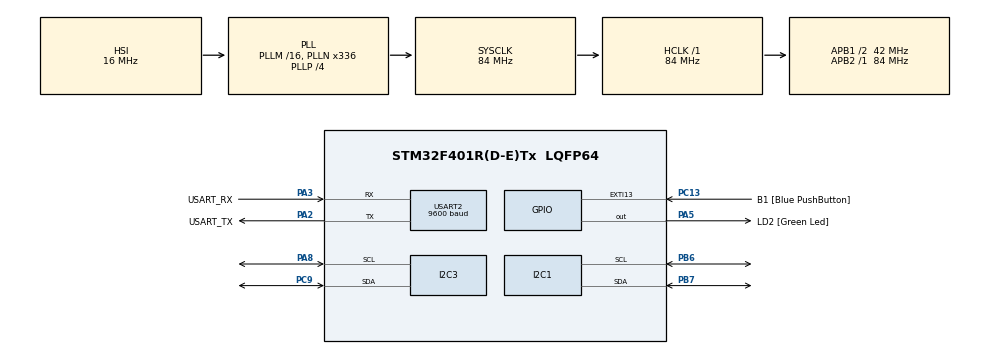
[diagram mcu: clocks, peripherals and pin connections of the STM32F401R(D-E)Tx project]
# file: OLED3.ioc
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ADC1.Channel-0\#ChannelRegularConversion=ADC_CHANNEL_TEMPSENSOR
ADC1.ClockPrescaler=ADC_CLOCK_SYNC_PCLK_DIV8
ADC1.ContinuousConvMode=ENABLE
ADC1.DMAContinuousRequests=ENABLE
ADC1.DataAlign=ADC_DATAALIGN_RIGHT
ADC1.DiscontinuousConvMode=DISABLE
ADC1.EOCSelection=ADC_EOC_SINGLE_CONV
ADC1.EnableAnalogWatchDog=false
ADC1.ExternalTrigConv=ADC_SOFTWARE_START
ADC1.ExternalTrigConvEdge=ADC_EXTERNALTRIGCONVEDGE_NONE
ADC1.InjNumberOfConversion=0
ADC1.NbrOfConversion=1
ADC1.NbrOfConversionFlag=1
ADC1.Rank-0\#ChannelRegularConversion=1
ADC1.Resolution=ADC_RESOLUTION_12B
ADC1.SamplingTime-0\#ChannelRegularConversion=ADC_SAMPLETIME_480CYCLES
ADC1.ScanConvMode=ENABLE
ADC1.master=1
Mcu.Family=STM32F4
Mcu.Name=STM32F401R(D-E)Tx
Mcu.Package=LQFP64
NVIC.ADC_IRQn=true\:0\:0\:false\:false\:true\:true
NVIC.PriorityGroup=NVIC_PRIORITYGROUP_0
NVIC.USART2_IRQn=true\:0\:0\:false\:false\:true\:true
PA13.GPIO_Label=TMS
PA13.Signal=SYS_JTMS-SWDIO
PA14.GPIO_Label=TCK
PA14.Signal=SYS_JTCK-SWCLK
PA2.GPIO_Label=USART_TX
PA2.GPIO_Mode=GPIO_MODE_AF_PP
PA2.GPIO_PuPd=GPIO_NOPULL
PA2.GPIO_Speed=GPIO_SPEED_FREQ_LOW
PA2.Mode=Asynchronous
PA2.Signal=USART2_TX
PA3.GPIO_Label=USART_RX
PA3.GPIO_Mode=GPIO_MODE_AF_PP
PA3.GPIO_PuPd=GPIO_NOPULL
PA3.GPIO_Speed=GPIO_SPEED_FREQ_LOW
PA3.Mode=Asynchronous
PA3.Signal=USART2_RX
PA5.GPIO_Label=LD2 [Green Led]
PA5.GPIO_Mode=GPIO_MODE_OUTPUT_PP
PA5.GPIO_PuPd=GPIO_NOPULL
PA5.GPIO_Speed=GPIO_SPEED_FREQ_LOW
PA5.Signal=GPIO_Output
PA8.Mode=I2C
PA8.Signal=I2C3_SCL
PB3.GPIO_Label=SWO
PB3.Signal=SYS_JTDO-SWO
PB6.Mode=I2C
PB6.Signal=I2C1_SCL
PB7.Mode=I2C
PB7.Signal=I2C1_SDA
PC13-ANTI_TAMP.GPIO_Label=B1 [Blue PushButton]
PC13-ANTI_TAMP.GPIO_ModeDefaultEXTI=GPIO_MODE_IT_FALLING
PC13-ANTI_TAMP.GPIO_PuPd=GPIO_NOPULL
PC13-ANTI_TAMP.Signal=GPXTI13
PC14-OSC32_IN.Signal=RCC_OSC32_IN
PC15-OSC32_OUT.Signal=RCC_OSC32_OUT
PC9.Mode=I2C
PC9.Signal=I2C3_SDA
PH0\ -\ OSC_IN.Mode=HSE-External-Oscillator
PH0\ -\ OSC_IN.Signal=RCC_OSC_IN
PH1\ -\ OSC_OUT.Mode=HSE-External-Oscillator
PH1\ -\ OSC_OUT.Signal=RCC_OSC_OUT
ProjectManager.HeapSize=0x200
ProjectManager.StackSize=0x400
ProjectManager.TargetToolchain=SW4STM32
RCC.AHBFreq_Value=84000000
RCC.APB1CLKDivider=RCC_HCLK_DIV2
RCC.APB1Freq_Value=42000000
RCC.APB1TimFreq_Value=84000000
RCC.APB2Freq_Value=84000000
RCC.APB2TimFreq_Value=84000000
RCC.CortexFreq_Value=84000000
RCC.HCLKFreq_Value=84000000
RCC.HSE_VALUE=8000000
RCC.HSI_VALUE=16000000
RCC.LSE_VALUE=32768
RCC.PLLN=336
RCC.PLLP=RCC_PLLP_DIV4
RCC.PLLQ=7
RCC.SYSCLKFreq_VALUE=84000000
RCC.SYSCLKSource=RCC_SYSCLKSOURCE_PLLCLK
RCC.VCOOutputFreq_Value=336000000
USART2.BaudRate=9600
USART2.VirtualMode=VM_ASYNC
VP_ADC1_TempSens_Input.Mode=IN-TempSens
board=NUCLEO-F401RE

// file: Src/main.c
/**
 ******************************************************************************
 * File Name          : main.c
 * Description        : Main program body
 ******************************************************************************
 ** This notice applies to any and all portions of this file
 * that are not between comment pairs USER CODE BEGIN and
 * USER CODE END. Other portions of this file, whether
 * inserted by the user or by software development tools
 * are owned by their respective copyright owners.
 *
 * COPYRIGHT(c) 2018 STMicroelectronics
 *
 * Redistribution and use in source and binary forms, with or without modification,
 * are permitted provided that the following conditions are met:
 *   1. Redistributions of source code must retain the above copyright notice,
 *      this list of conditions and the following disclaimer.
 *   2. Redistributions in binary form must reproduce the above copyright notice,
 *      this list of conditions and the following disclaimer in the documentation
 *      and/or other materials provided with the distribution.
 *   3. Neither the name of STMicroelectronics nor the names of its contributors
 *      may be used to endorse or promote products derived from this software
 *      without specific prior written permission.
 *
 * THIS SOFTWARE IS PROVIDED BY THE COPYRIGHT HOLDERS AND CONTRIBUTORS "AS IS"
 * AND ANY EXPRESS OR IMPLIED WARRANTIES, INCLUDING, BUT NOT LIMITED TO, THE
 * IMPLIED WARRANTIES OF MERCHANTABILITY AND FITNESS FOR A PARTICULAR PURPOSE ARE
 * DISCLAIMED. IN NO EVENT SHALL THE COPYRIGHT HOLDER OR CONTRIBUTORS BE LIABLE
 * FOR ANY DIRECT, INDIRECT, INCIDENTAL, SPECIAL, EXEMPLARY, OR CONSEQUENTIAL
 * DAMAGES (INCLUDING, BUT NOT LIMITED TO, PROCUREMENT OF SUBSTITUTE GOODS OR
 * SERVICES; LOSS OF USE, DATA, OR PROFITS; OR BUSINESS INTERRUPTION) HOWEVER
 * CAUSED AND ON ANY THEORY OF LIABILITY, WHETHER IN CONTRACT, STRICT LIABILITY,
 * OR TORT (INCLUDING NEGLIGENCE OR OTHERWISE) ARISING IN ANY WAY OUT OF THE USE
 * OF THIS SOFTWARE, EVEN IF ADVISED OF THE POSSIBILITY OF SUCH DAMAGE.
 *
 ******************************************************************************
 */

#include "main.h"
#include "stm32f4xx_hal.h"

/* USER CODE BEGIN Includes */
#include "tm_stm32_delay.h"
#include "defines.h"
#include "SSD1306_procedury.h"
#include "Obrazki_128_64.h"
#include "function.h"

#include "bmp180.h"
#include <math.h>
#include <string.h>

#define buf_size 255 //rozmiar bufora kolwego
#define start 0x3A //adres poczatku ramki
#define dest_addr 0x55 //adres docelowy
#define sour_addr 0x7F //adres zrodlowy
#define end1 0x0D //znak konca ramki
#define end2 0x0A //znak konca ramki

#define wyswietl_temp 0x22 //komenda wysietlania temperatury
#define wyswietl_pressure 0x23 //komenda wysietlania temperatury

const int led_on_off = 0x11; // komenda led on/led off
const int miganie = 0x10; //miganie dioda

int flaga; //flaga wykorzystywana do wysietlania temperatury co okreslony czas (SysTick)
/* USER CODE END Includes */

ADC_HandleTypeDef hadc1;

I2C_HandleTypeDef hi2c1;
I2C_HandleTypeDef hi2c3;

UART_HandleTypeDef huart2;

/* USER CODE BEGIN PV */
/* Private variables ---------------------------------------------------------*/

uint16_t PomiarADC; //zmienna przechowuje pomiar
float Temperature;
float Vsense;

const float V25 = 0.76; // [Volts]
const float Avg_slope = 0.0025; //[Volts/degree]
const float SupplyVoltage = 3.3; // [Volts]
const float ADCResolution = 4095.0;

int wartoscADC1 = 0;
int wartoscADC2 = 0;
char TempCelsiusDisplay[] = "    .   C "; //inicjalizacja bufora wyietlania
char PressureDisplay[] = "     hPa "; //przykladowa wartosc

uint8_t Received;     //zmienna przechowujaca dane odebrane z usarta
uint8_t przerwanie = 0;  // flaga informujaca o uruchomieniu przerwania usarta
uint8_t buf_rx[buf_size]; //bufor ko這wy
uint8_t buf_end = 0; //indeks ko鎍a zapisu
uint8_t buf_start = 0; //indeks poczatku zapisu
uint8_t CMD_buf_rx[buf_size]; //bufor pomocniczy
uint8_t CMD_BUF_INDEX = 0; // indeks bufora
uint16_t zapalona; //jak dlugo dioda zapalona
uint16_t zgaszona; //jak dlugo dioda zgaszona

uint8_t buf_tx[buf_size]; //bufor kolowy
uint8_t buf_xx[buf_size];
uint8_t buf_tx_end = 0; //indeks konca zapisu
uint8_t buf_tx_start = 0; //indeks poczatku zapisu
uint8_t tx_transmit = 0;

uint8_t data[buf_size];
uint8_t flag = 0;

float volatile bmp180Pressure;
float volatile bmp180Temperature;
/* USER CODE END PV */

void SystemClock_Config(void);
static void MX_GPIO_Init(void);
static void MX_I2C3_Init(void);
static void MX_ADC1_Init(void);
static void MX_USART2_UART_Init(void);
static void MX_I2C1_Init(void);

/* USER CODE BEGIN PFP */
/* Private function prototypes -----------------------------------------------*/
void HAL_ADC_ConvCpltCallback(ADC_HandleTypeDef* hadc) {
	PomiarADC = HAL_ADC_GetValue(&hadc1); // Pobranie zmierzonej wartosci
	Vsense = (SupplyVoltage * PomiarADC) / ADCResolution; // Przeliczenie wartosci zmierzonej na napiecie
	Temperature = ((Vsense - V25) / Avg_slope) + 25; // Obliczenie temperatury
	wartoscADC1 = (int) Temperature; //temperatura, wartosc przed przecinkiem
	wartoscADC2 = ((int) (Temperature * 100)) % 100; //temperatura, wartosc po przecinku
}

//metoda wywolywana po odborze
void HAL_UART_RxCpltCallback(UART_HandleTypeDef *huart) {
	if (huart->Instance == USART2) {
		buf_end++;
		if (buf_end >= buf_size) {
			buf_end = 0;
		}
		HAL_UART_Receive_IT(&huart2, &buf_rx[buf_end], 1);
	}
}

void HAL_UART_TxCpltCallback(UART_HandleTypeDef *huart) {
	if (huart->Instance == USART2) {
		//przerwanie wywolywane po wyslaniu znaku
		if (buf_tx_end != buf_tx_start) {
			int ile1 = 0;
			while (buf_tx_end != buf_tx_start) { /*dopoki w buforze jest cos do wyslania,
				czego jeszcze nie wyswietlimy, bedziemy to dodawac do tablicy, a pozniej zostana wyslane*/
				buf_xx[ile1++] = buf_tx[buf_tx_end++]; //zapisanie do bufora pomocniczego
				if (buf_tx_end >= buf_size) {
					buf_tx_end = 0;
				}
			}
			HAL_UART_Transmit_IT(&huart2, buf_xx, ile1);
		} else {
			tx_transmit = 0; //jesli nie ma juz nic do wyslania
		}
	}
}
void sprawdz(void) { //funkcja, ktora sprawdza czy zostala przeslana odpowiednia ramka
	if (flag == 5) { //czy odebrano znak konca ramki
		uint16_t dlugosc = CMD_buf_rx[3]; //wyliczenie dlugosci ramki
		uint16_t crc = crc1(&CMD_buf_rx[1], dlugosc + 2); //suma kontrolna
		if (crc >= 0) {
			if (CMD_BUF_INDEX == dlugosc + 10) { //czy w buforze znajduje sie ramka o odpowiedniej dlugosci
				dioda(); //sprawdzenie czy komenda dioda
				if (CMD_buf_rx[4] == wyswietl_temp) { //czy komenda wyswietlenia temperatury
					send(&TempCelsiusDisplay, 10);
				}
				if (CMD_buf_rx[4] == wyswietl_pressure) { //czy komenda wyswietlenia cisnienia
					send(&PressureDisplay, 9);
				}
				flag = 0;
				CMD_BUF_INDEX = 0;
			}
		}
	}
}
void copy2(void) {
	buf_start++;
	if (buf_start >= buf_size) {
		buf_start = 0;
	}
}
void copy(void) {
	if (buf_start != buf_end) {
		if (flag == 1) {
			if (buf_rx[buf_start] == dest_addr) { //czy adres docelowy urzadzenia
				CMD_buf_rx[CMD_BUF_INDEX++] = buf_rx[buf_start];
				flag = 2;
			} else {
				CMD_BUF_INDEX = 0;
				flag = 0;
			}
		} else if (flag == 2) {
			if (buf_rx[buf_start] == sour_addr) { //czy adres zrodlowy
				CMD_buf_rx[CMD_BUF_INDEX++] = buf_rx[buf_start];
				flag = 3;
			} else {
				CMD_BUF_INDEX = 0;
				flag = 0;
			}
		} else if (flag == 3) {
			if (buf_rx[buf_start] == end1) { //czy znak ko鎍a ramki (pierwszy z dwoch)
				CMD_buf_rx[CMD_BUF_INDEX++] = buf_rx[buf_start];
				flag = 4;
			}
			if (buf_rx[buf_start] != start) {
				CMD_buf_rx[CMD_BUF_INDEX++] = buf_rx[buf_start];
			} else {
				CMD_BUF_INDEX = 0;
				flag = 0;
			}
		} else if (flag == 4) {
			if (buf_rx[buf_start] == end2) { //czy znak konca ramki
				CMD_buf_rx[CMD_BUF_INDEX++] = buf_rx[buf_start];
				flag = 5;
				sprawdz(); //sprawdzam czy cala ramka zostala przeslana i czy jest ona poprawna
			} else {
				flag = 0;
				CMD_BUF_INDEX = 0;
			}
		}
		if (buf_rx[buf_start] == start) { //czy poczaek ramki
			if (flag == 0) {
				CMD_buf_rx[CMD_BUF_INDEX++] = buf_rx[buf_start]; //zapisanie do bufora pomocniczego
				flag = 1; //ustawiam flage na 1, co oznacza, ze teraz powinien przyjsc destination address
			}
		}
		copy2();
	}
}
void dioda(void) {
	if (CMD_buf_rx[4] == led_on_off) { //czy komenda wlaczenia/wylaczenia diody
		if (CMD_buf_rx[5] == 0x01) { //warunek na zapalenie diody
			HAL_GPIO_WritePin(GPIOA, GPIO_PIN_5, GPIO_PIN_SET);
		} else {
			HAL_GPIO_WritePin(GPIOA, GPIO_PIN_5, GPIO_PIN_RESET);
		}
	}
	if (CMD_buf_rx[4] == miganie) { //warunek na miganie diody
		zapalona = ((uint16_t) CMD_buf_rx[6] << 8) | CMD_buf_rx[7]; //ile czasu wlaczona
		zgaszona = ((uint16_t) CMD_buf_rx[8] << 8) | CMD_buf_rx[9]; //ile czasu wylaczona
		for (int i = 0; i < CMD_buf_rx[5]; i++) {
			HAL_GPIO_WritePin(GPIOA, GPIO_PIN_5, GPIO_PIN_SET);
			HAL_Delay(zapalona);
			HAL_GPIO_WritePin(GPIOA, GPIO_PIN_5, GPIO_PIN_RESET);
			HAL_Delay(zgaszona);
		}
	}
}
void send(char *dane, uint16_t rozmiar) {
	//dodawanie danych do bufora
	for (int x = 0; x < rozmiar; x++) {
		buf_tx[buf_tx_start++] = dane[x];
		if (buf_tx_start >= buf_size) {
			buf_tx_start = 0;
		}
	}
	int ile;
	__disable_irq(); // zablokowanie przerwania
	if (tx_transmit == 0){
		tx_transmit = 1;
		ile = 0;
		while (buf_tx_start != buf_tx_end) {
			buf_xx[ile++] = buf_tx[buf_tx_end++]; //zapis do bufora pomocniczego
			if (buf_tx_end >= buf_size) {
				buf_tx_end = 0;
			}
		}
		HAL_UART_Transmit_IT(&huart2, buf_xx, ile);
	}
	__enable_irq(); //odblokowanie przerwania
}
void wyswietlTemp(void) {
	if (wartoscADC1 < 0) { //jesli temperatura ujemna
		TempCelsiusDisplay[0] = '-';
	} else if (wartoscADC1 > 0) { //jesli temperatura dodatnia
		TempCelsiusDisplay[0] = '+';
	} //konwersja ascii
	  //cyfry po przecinku
	TempCelsiusDisplay[5] = wartoscADC2 / 10 + 48;
	TempCelsiusDisplay[6] = wartoscADC2 % 10 + 48;
	if (wartoscADC1 < 10 && wartoscADC1 > -10) { //gdy liczba jednocyfrowa
		TempCelsiusDisplay[3] = wartoscADC1 + 48;
	} else if (wartoscADC1 < 100 && wartoscADC1 > -100) { //gdy dwucyfrowa
		TempCelsiusDisplay[2] = wartoscADC1 / 10 + 48;
		TempCelsiusDisplay[3] = wartoscADC1 % 10 + 48;
	} else { //trzycyfrowa
		TempCelsiusDisplay[1] = wartoscADC1 / 100 + 48;
		TempCelsiusDisplay[2] = (wartoscADC1 / 10) % 10 + 48;
		TempCelsiusDisplay[3] = wartoscADC1 % 10 + 48;
	}

}
void wyswietlPressure(void) {
	PressureDisplay[0] = ((int) bmp180Pressure / 1000) + 48;
	PressureDisplay[1] = ((int) bmp180Pressure / 100) % 10 + 48;
	PressureDisplay[2] = ((int) bmp180Pressure % 100) % 10 + 48;
	PressureDisplay[3] = ((int) bmp180Pressure) % 10 + 48;
}
/* USER CODE END PFP */

int main(void) {

	/* USER CODE BEGIN 1 */
	char status = FALSE;
	//numer_ekranu = 0;
	/* USER CODE END 1 */

	/* MCU Configuration----------------------------------------------------------*/

	/* Reset of all peripherals, Initializes the Flash interface and the Systick. */
	HAL_Init();

	/* Configure the system clock */
	SystemClock_Config();

	/* Initialize all configured peripherals */
	MX_GPIO_Init();
	MX_I2C3_Init();
	MX_ADC1_Init();
	MX_USART2_UART_Init();
	MX_I2C1_Init();

	/* USER CODE BEGIN 2 */
	TM_DELAY_Init();
	HAL_ADC_Start_IT(&hadc1);
	//uruchomienie przerwania
	HAL_UART_Receive_IT(&huart2, &buf_rx[buf_end], 1);

	/* USER CODE END 2 */

	/* Infinite loop */
	/* USER CODE BEGIN WHILE */
	HAL_StatusTypeDef status1;

	//czujnik cisnienia i temperatury
	bmp180Device bmp180Device = { 0 };
	bmp180Device.handle = &hi2c1;
	bmp180Device.oversampling = 3;
	status1 = bmp180ReadCoefficients(&bmp180Device);

	status = SSD1306_Inicjacja(); //inicjacja wyswietlacza SSD1306
	if (status == TRUE) {
		wyswietlTemp();
		temp(TempCelsiusDisplay, PressureDisplay);
	}
	while (1) {

		/* USER CODE END WHILE */

		/* USER CODE BEGIN 3 */
		copy();
		if (flaga == 1) {
			bmp180Pressure = 0;
			bmp180Temperature = 0;

			status1 = bmp180ReadMeasurements(&bmp180Device);

			bmp180Pressure = bmp180Device.pressure; //pobranie cisnienia
			bmp180Temperature = bmp180Device.temperature; //pobranie temperatury

			bmp180Pressure = round(bmp180Pressure * 1000.0); //zaokraglenie do najblizszej liczby calkowitej
			bmp180Temperature = round(bmp180Temperature * 1000.0);

			wyswietlTemp();
			wyswietlPressure();
			temp1(TempCelsiusDisplay, PressureDisplay);
			flaga = 0;
		}
	}
	/* USER CODE END 3 */

}

/** System Clock Configuration
 */
void SystemClock_Config(void) {

	RCC_OscInitTypeDef RCC_OscInitStruct;
	RCC_ClkInitTypeDef RCC_ClkInitStruct;

	/**Configure the main internal regulator output voltage
	 */
	__HAL_RCC_PWR_CLK_ENABLE()
	;

	__HAL_PWR_VOLTAGESCALING_CONFIG(PWR_REGULATOR_VOLTAGE_SCALE2);

	/**Initializes the CPU, AHB and APB busses clocks
	 */
	RCC_OscInitStruct.OscillatorType = RCC_OSCILLATORTYPE_HSI;
	RCC_OscInitStruct.HSIState = RCC_HSI_ON;
	RCC_OscInitStruct.HSICalibrationValue = 16;
	RCC_OscInitStruct.PLL.PLLState = RCC_PLL_ON;
	RCC_OscInitStruct.PLL.PLLSource = RCC_PLLSOURCE_HSI;
	RCC_OscInitStruct.PLL.PLLM = 16;
	RCC_OscInitStruct.PLL.PLLN = 336;
	RCC_OscInitStruct.PLL.PLLP = RCC_PLLP_DIV4;
	RCC_OscInitStruct.PLL.PLLQ = 7;
	if (HAL_RCC_OscConfig(&RCC_OscInitStruct) != HAL_OK) {
		_Error_Handler(__FILE__, __LINE__);
	}

	/**Initializes the CPU, AHB and APB busses clocks
	 */
	RCC_ClkInitStruct.ClockType = RCC_CLOCKTYPE_HCLK | RCC_CLOCKTYPE_SYSCLK
			| RCC_CLOCKTYPE_PCLK1 | RCC_CLOCKTYPE_PCLK2;
	RCC_ClkInitStruct.SYSCLKSource = RCC_SYSCLKSOURCE_PLLCLK;
	RCC_ClkInitStruct.AHBCLKDivider = RCC_SYSCLK_DIV1;
	RCC_ClkInitStruct.APB1CLKDivider = RCC_HCLK_DIV2;
	RCC_ClkInitStruct.APB2CLKDivider = RCC_HCLK_DIV1;

	if (HAL_RCC_ClockConfig(&RCC_ClkInitStruct, FLASH_LATENCY_2) != HAL_OK) {
		_Error_Handler(__FILE__, __LINE__);
	}

	/**Configure the Systick interrupt time
	 */
	HAL_SYSTICK_Config(HAL_RCC_GetHCLKFreq() / 1000);

	/**Configure the Systick
	 */
	HAL_SYSTICK_CLKSourceConfig(SYSTICK_CLKSOURCE_HCLK);

	/* SysTick_IRQn interrupt configuration */
	HAL_NVIC_SetPriority(SysTick_IRQn, 0, 0);
}

/* ADC1 init function */
static void MX_ADC1_Init(void) {

	ADC_ChannelConfTypeDef sConfig;

	/**Configure the global features of the ADC (Clock, Resolution, Data Alignment and number of conversion)
	 */
	hadc1.Instance = ADC1;
	hadc1.Init.ClockPrescaler = ADC_CLOCK_SYNC_PCLK_DIV8;
	hadc1.Init.Resolution = ADC_RESOLUTION_12B;
	hadc1.Init.ScanConvMode = ENABLE;
	hadc1.Init.ContinuousConvMode = ENABLE;
	hadc1.Init.DiscontinuousConvMode = DISABLE;
	hadc1.Init.ExternalTrigConvEdge = ADC_EXTERNALTRIGCONVEDGE_NONE;
	hadc1.Init.ExternalTrigConv = ADC_SOFTWARE_START;
	hadc1.Init.DataAlign = ADC_DATAALIGN_RIGHT;
	hadc1.Init.NbrOfConversion = 1;
	hadc1.Init.DMAContinuousRequests = ENABLE;
	hadc1.Init.EOCSelection = ADC_EOC_SINGLE_CONV;
	if (HAL_ADC_Init(&hadc1) != HAL_OK) {
		_Error_Handler(__FILE__, __LINE__);
	}

	/**Configure for the selected ADC regular channel its corresponding rank in the sequencer and its sample time.
	 */
	sConfig.Channel = ADC_CHANNEL_TEMPSENSOR;
	sConfig.Rank = 1;
	sConfig.SamplingTime = ADC_SAMPLETIME_480CYCLES;
	if (HAL_ADC_ConfigChannel(&hadc1, &sConfig) != HAL_OK) {
		_Error_Handler(__FILE__, __LINE__);
	}

}

/* I2C1 init function */
static void MX_I2C1_Init(void) {

	hi2c1.Instance = I2C1;
	hi2c1.Init.ClockSpeed = 100000;
	hi2c1.Init.DutyCycle = I2C_DUTYCYCLE_2;
	hi2c1.Init.OwnAddress1 = 0;
	hi2c1.Init.AddressingMode = I2C_ADDRESSINGMODE_7BIT;
	hi2c1.Init.DualAddressMode = I2C_DUALADDRESS_DISABLE;
	hi2c1.Init.OwnAddress2 = 0;
	hi2c1.Init.GeneralCallMode = I2C_GENERALCALL_DISABLE;
	hi2c1.Init.NoStretchMode = I2C_NOSTRETCH_DISABLE;
	if (HAL_I2C_Init(&hi2c1) != HAL_OK) {
		_Error_Handler(__FILE__, __LINE__);
	}

}

/* I2C3 init function */
static void MX_I2C3_Init(void) {

	hi2c3.Instance = I2C3;
	hi2c3.Init.ClockSpeed = 100000;
	hi2c3.Init.DutyCycle = I2C_DUTYCYCLE_2;
	hi2c3.Init.OwnAddress1 = 0;
	hi2c3.Init.AddressingMode = I2C_ADDRESSINGMODE_7BIT;
	hi2c3.Init.DualAddressMode = I2C_DUALADDRESS_DISABLE;
	hi2c3.Init.OwnAddress2 = 0;
	hi2c3.Init.GeneralCallMode = I2C_GENERALCALL_DISABLE;
	hi2c3.Init.NoStretchMode = I2C_NOSTRETCH_DISABLE;
	if (HAL_I2C_Init(&hi2c3) != HAL_OK) {
		_Error_Handler(__FILE__, __LINE__);
	}

}

/* USART2 init function */
static void MX_USART2_UART_Init(void) {

	huart2.Instance = USART2;
	huart2.Init.BaudRate = 9600;
	huart2.Init.WordLength = UART_WORDLENGTH_8B;
	huart2.Init.StopBits = UART_STOPBITS_1;
	huart2.Init.Parity = UART_PARITY_NONE;
	huart2.Init.Mode = UART_MODE_TX_RX;
	huart2.Init.HwFlowCtl = UART_HWCONTROL_NONE;
	huart2.Init.OverSampling = UART_OVERSAMPLING_16;
	if (HAL_UART_Init(&huart2) != HAL_OK) {
		_Error_Handler(__FILE__, __LINE__);
	}

}

/** Configure pins as
 * Analog
 * Input
 * Output
 * EVENT_OUT
 * EXTI
 */
static void MX_GPIO_Init(void) {

	GPIO_InitTypeDef GPIO_InitStruct;

	/* GPIO Ports Clock Enable */
	__HAL_RCC_GPIOC_CLK_ENABLE()
	;
	__HAL_RCC_GPIOH_CLK_ENABLE()
	;
	__HAL_RCC_GPIOA_CLK_ENABLE()
	;
	__HAL_RCC_GPIOB_CLK_ENABLE()
	;

	/*Configure GPIO pin Output Level */
	HAL_GPIO_WritePin(LD2_GPIO_Port, LD2_Pin, GPIO_PIN_RESET);

	/*Configure GPIO pin : B1_Pin */
	GPIO_InitStruct.Pin = B1_Pin;
	GPIO_InitStruct.Mode = GPIO_MODE_IT_FALLING;
	GPIO_InitStruct.Pull = GPIO_NOPULL;
	HAL_GPIO_Init(B1_GPIO_Port, &GPIO_InitStruct);

	/*Configure GPIO pin : LD2_Pin */
	GPIO_InitStruct.Pin = LD2_Pin;
	GPIO_InitStruct.Mode = GPIO_MODE_OUTPUT_PP;
	GPIO_InitStruct.Pull = GPIO_NOPULL;
	GPIO_InitStruct.Speed = GPIO_SPEED_FREQ_LOW;
	HAL_GPIO_Init(LD2_GPIO_Port, &GPIO_InitStruct);

}

void _Error_Handler(char * file, int line) {
	while (1) {
	}
}

/************************ (C) COPYRIGHT STMicroelectronics *****END OF FILE****/
